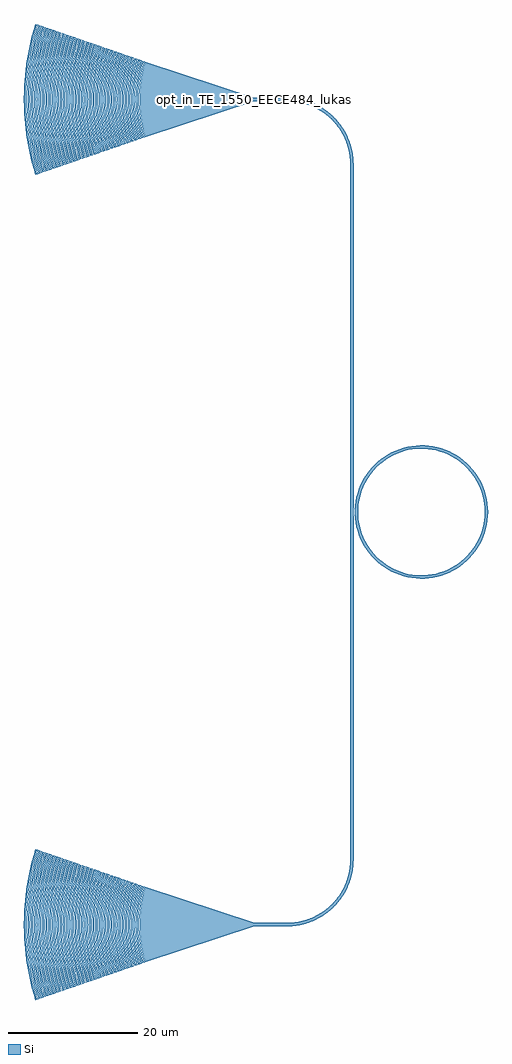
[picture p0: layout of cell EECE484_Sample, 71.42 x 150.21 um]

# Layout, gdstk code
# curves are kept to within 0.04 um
from math import pi, radians
import gdstk
lib = gdstk.Library(unit=1e-6, precision=1e-09)
def R(c, l, rs):  # rectangles x0, y0, x1, y1
    for r in rs: c.add(gdstk.rectangle(r[:2], r[2:], *l))
def P(c, l, *ps):  # polygons
    for p in ps: c.add(gdstk.Polygon(p, *l))
Si = (1, 0)

bend90_10um = lib.new_cell('Bend90_10um')
P(bend90_10um, Si, [(0,0),(0,0.5),(1.081,0.56),(2.148,0.74),(3.189,1.036),(4.191,1.446),(5.529,2.219),(6.839,3.301),(7.942,4.594),(8.736,5.92),(9.162,6.915),(9.475,7.951),(9.672,9.016),(9.75,10.25),(10.25,10.25),(10.204,9.276),(10.065,8.31),(9.835,7.362),(9.516,6.44),(9.111,5.553),(8.623,4.708),(7.956,3.787),(7.305,3.06),(6.589,2.398),(5.678,1.716),(4.841,1.215),(3.96,0.796),(2.888,0.415),(1.94,0.185),(0.974,0.046)])

te_1550_220__38_air_subg = lib.new_cell('TE_1550_220_-38_air_SubGC')
R(te_1550_220__38_air_subg, Si, [(34.469,11.353,35.469,11.853)])
P(te_1550_220__38_air_subg, Si, [(18.418,5.732),(18.215,6.503),(18.042,7.279),(17.931,7.865),(17.808,8.648),(17.714,9.433),(17.649,10.221),(17.619,10.813),(17.605,11.603),(17.619,12.393),(17.649,12.985),(17.714,13.773),(17.808,14.558),(17.931,15.341),(18.042,15.927),(18.215,16.703),(18.418,17.474),(18.491,17.449),(18.29,16.681),(18.118,15.908),(17.974,15.131),(17.859,14.35),(17.773,13.567),(17.727,12.979),(17.697,12.389),(17.683,11.603),(17.697,10.817),(17.727,10.227),(17.773,9.639),(17.859,8.856),(17.974,8.075),(18.118,7.298),(18.29,6.525),(18.491,5.757)],
  [(17.543,5.431),(17.187,6.852),(16.896,8.495),(16.741,9.943),(16.68,11.603),(16.741,13.263),(16.896,14.711),(17.187,16.354),(17.543,17.775),(17.789,17.691),(17.439,16.288),(17.152,14.668),(17,13.24),(16.94,11.603),(17,9.966),(17.152,8.538),(17.439,6.918),(17.789,5.515)],
  [(17.892,5.551),(17.682,6.346),(17.502,7.146),(17.387,7.749),(17.26,8.556),(17.162,9.366),(17.109,9.975),(17.064,10.789),(17.049,11.603),(17.064,12.417),(17.109,13.231),(17.162,13.84),(17.26,14.65),(17.387,15.457),(17.502,16.06),(17.682,16.86),(17.892,17.655),(17.966,17.63),(17.757,16.838),(17.578,16.042),(17.429,15.241),(17.31,14.436),(17.22,13.628),(17.173,13.022),(17.135,12.211),(17.127,11.603),(17.135,10.995),(17.173,10.184),(17.22,9.578),(17.31,8.77),(17.429,7.965),(17.578,7.164),(17.757,6.368),(17.966,5.576)],
  [(17.017,5.25),(16.649,6.713),(16.347,8.403),(16.173,10.107),(16.124,11.603),(16.173,13.099),(16.347,14.803),(16.649,16.493),(17.017,17.956),(17.263,17.872),(16.857,16.221),(16.604,14.76),(16.432,13.079),(16.384,11.603),(16.432,10.127),(16.604,8.446),(16.857,6.985),(17.263,5.334)],
  [(17.366,5.37),(17.2,5.983),(17.006,6.805),(16.843,7.633),(16.711,8.464),(16.61,9.299),(16.555,9.926),(16.509,10.764),(16.493,11.603),(16.509,12.442),(16.555,13.28),(16.61,13.907),(16.711,14.742),(16.843,15.573),(17.006,16.401),(17.2,17.223),(17.366,17.836),(17.44,17.811),(17.224,16.996),(17.038,16.175),(16.884,15.35),(16.76,14.522),(16.688,13.898),(16.618,13.065),(16.586,12.438),(16.571,11.603),(16.586,10.768),(16.618,10.141),(16.688,9.308),(16.76,8.684),(16.884,7.856),(17.038,7.031),(17.224,6.21),(17.44,5.395)],
  [(16.492,5.069),(16.111,6.573),(15.799,8.311),(15.618,10.064),(15.568,11.603),(15.618,13.142),(15.799,14.895),(16.111,16.633),(16.492,18.137),(16.738,18.053),(16.317,16.354),(16.056,14.852),(15.893,13.339),(15.828,11.603),(15.893,9.867),(16.056,8.354),(16.317,6.852),(16.738,5.153)],
  [(16.841,5.189),(16.669,5.819),(16.468,6.665),(16.3,7.517),(16.163,8.372),(16.082,9.016),(16.001,9.877),(15.953,10.74),(15.937,11.603),(15.953,12.466),(16.001,13.329),(16.082,14.19),(16.163,14.834),(16.3,15.689),(16.468,16.541),(16.669,17.387),(16.841,18.017),(16.914,17.992),(16.691,17.154),(16.499,16.309),(16.339,15.46),(16.211,14.607),(16.115,13.751),(16.064,13.107),(16.031,12.463),(16.015,11.603),(16.031,10.743),(16.064,10.099),(16.115,9.455),(16.211,8.599),(16.339,7.746),(16.499,6.897),(16.691,6.052),(16.914,5.214)],
  [(15.966,4.888),(15.525,6.655),(15.251,8.22),(15.064,10.021),(15.012,11.603),(15.064,13.185),(15.251,14.986),(15.525,16.551),(15.966,18.318),(16.212,18.234),(15.825,16.708),(15.507,14.943),(15.323,13.165),(15.272,11.603),(15.323,10.041),(15.507,8.263),(15.825,6.498),(16.212,4.972)],
  [(16.315,5.008),(16.083,5.873),(15.883,6.744),(15.717,7.62),(15.615,8.281),(15.531,8.943),(15.447,9.828),(15.398,10.715),(15.381,11.603),(15.398,12.491),(15.447,13.378),(15.507,14.042),(15.615,14.925),(15.717,15.586),(15.883,16.462),(16.083,17.333),(16.315,18.198),(16.389,18.173),(16.157,17.311),(15.959,16.443),(15.794,15.57),(15.662,14.693),(15.562,13.812),(15.51,13.15),(15.468,12.266),(15.459,11.603),(15.468,10.94),(15.51,10.056),(15.562,9.394),(15.662,8.513),(15.794,7.636),(15.959,6.763),(16.157,5.895),(16.389,5.033)],
  [(15.44,4.707),(15.035,6.293),(14.702,8.128),(14.526,9.746),(14.456,11.603),(14.526,13.46),(14.702,15.078),(15.035,16.913),(15.44,18.499),(15.686,18.415),(15.238,16.622),(14.959,15.035),(14.785,13.437),(14.716,11.603),(14.785,9.769),(14.959,8.171),(15.238,6.584),(15.686,4.791)],
  [(15.789,4.827),(15.549,5.715),(15.392,6.386),(15.212,7.285),(15.066,8.189),(14.979,8.869),(14.894,9.779),(14.842,10.69),(14.825,11.603),(14.842,12.516),(14.894,13.427),(14.979,14.337),(15.066,15.017),(15.212,15.921),(15.392,16.82),(15.549,17.491),(15.789,18.379),(15.863,18.354),(15.624,17.469),(15.42,16.577),(15.249,15.68),(15.112,14.779),(15.032,14.1),(14.955,13.193),(14.92,12.512),(14.903,11.603),(14.92,10.694),(14.955,10.013),(15.032,9.106),(15.112,8.427),(15.249,7.526),(15.42,6.629),(15.624,5.737),(15.863,4.852)],
  [(14.915,4.526),(14.446,6.387),(14.154,8.036),(13.955,9.935),(13.9,11.603),(13.955,13.271),(14.154,15.17),(14.446,16.819),(14.915,18.68),(15.16,18.596),(14.698,16.756),(14.41,15.127),(14.231,13.486),(14.16,11.603),(14.231,9.72),(14.41,8.079),(14.698,6.45),(15.16,4.61)],
  [(15.263,4.646),(15.016,5.558),(14.804,6.476),(14.627,7.401),(14.518,8.097),(14.403,9.029),(14.323,9.964),(14.279,10.9),(14.269,11.603),(14.279,12.306),(14.323,13.242),(14.403,14.177),(14.518,15.109),(14.627,15.805),(14.804,16.73),(15.016,17.648),(15.263,18.56),(15.337,18.535),(15.091,17.626),(14.88,16.711),(14.704,15.79),(14.563,14.864),(14.48,14.168),(14.401,13.236),(14.357,12.303),(14.347,11.603),(14.357,10.903),(14.401,9.97),(14.48,9.038),(14.563,8.342),(14.704,7.416),(14.88,6.495),(15.091,5.58),(15.337,4.671)],
  [(14.389,4.345),(13.906,6.253),(13.606,7.944),(13.418,9.648),(13.344,11.603),(13.418,13.558),(13.606,15.262),(13.906,16.953),(14.389,18.861),(14.635,18.777),(14.21,17.127),(13.862,15.219),(13.677,13.535),(13.604,11.603),(13.677,9.671),(13.862,7.987),(14.21,6.079),(14.635,4.429)],
  [(14.738,4.465),(14.543,5.165),(14.316,6.106),(14.124,7.053),(13.97,8.005),(13.877,8.722),(13.786,9.681),(13.731,10.641),(13.713,11.603),(13.731,12.565),(13.786,13.525),(13.877,14.484),(13.97,15.201),(14.124,16.153),(14.316,17.1),(14.543,18.041),(14.738,18.741),(14.812,18.716),(14.558,17.784),(14.34,16.845),(14.159,15.9),(14.014,14.95),(13.928,14.235),(13.847,13.279),(13.801,12.322),(13.791,11.603),(13.801,10.884),(13.847,9.927),(13.928,8.971),(14.014,8.256),(14.159,7.306),(14.34,6.361),(14.558,5.422),(14.812,4.49)],
  [(13.863,4.164),(13.42,5.873),(13.057,7.853),(12.847,9.849),(12.788,11.603),(12.847,13.357),(13.057,15.353),(13.42,17.333),(13.863,19.042),(14.109,18.958),(13.619,17.024),(13.314,15.311),(13.106,13.337),(13.048,11.603),(13.106,9.869),(13.314,7.895),(13.619,6.182),(14.109,4.248)],
  [(14.212,4.284),(13.95,5.242),(13.725,6.208),(13.537,7.181),(13.421,7.913),(13.299,8.894),(13.232,9.631),(13.176,10.617),(13.157,11.603),(13.176,12.589),(13.232,13.575),(13.299,14.312),(13.421,15.293),(13.537,16.025),(13.725,16.998),(13.95,17.964),(14.212,18.922),(14.286,18.897),(14.025,17.942),(13.801,16.979),(13.614,16.01),(13.464,15.036),(13.352,14.058),(13.292,13.322),(13.254,12.586),(13.235,11.603),(13.254,10.62),(13.292,9.884),(13.352,9.148),(13.464,8.17),(13.614,7.196),(13.801,6.227),(14.025,5.264),(14.286,4.309)],
  [(13.337,3.983),(12.882,5.734),(12.509,7.761),(12.292,9.806),(12.232,11.603),(12.292,13.4),(12.509,15.445),(12.882,17.472),(13.337,19.223),(13.583,19.139),(13.079,17.158),(12.765,15.402),(12.57,13.633),(12.492,11.603),(12.57,9.573),(12.765,7.804),(13.079,6.048),(13.583,4.067)],
  [(13.686,4.103),(13.417,5.085),(13.185,6.075),(12.992,7.071),(12.873,7.822),(12.747,8.827),(12.678,9.582),(12.62,10.592),(12.601,11.603),(12.62,12.614),(12.678,13.624),(12.747,14.379),(12.873,15.384),(12.992,16.135),(13.185,17.131),(13.417,18.121),(13.686,19.103),(13.76,19.078),(13.491,18.099),(13.261,17.113),(13.069,16.12),(12.915,15.121),(12.799,14.119),(12.738,13.365),(12.698,12.61),(12.679,11.603),(12.698,10.596),(12.738,9.841),(12.799,9.087),(12.915,8.085),(13.069,7.086),(13.261,6.093),(13.491,5.107),(13.76,4.128)],
  [(12.812,3.801),(12.287,5.852),(11.96,7.669),(11.738,9.763),(11.676,11.603),(11.738,13.443),(11.96,15.537),(12.287,17.354),(12.812,19.405),(13.058,19.32),(12.596,17.547),(12.217,15.494),(11.997,13.423),(11.936,11.603),(11.997,9.783),(12.217,7.712),(12.596,5.659),(13.058,3.886)],
  [(13.161,3.922),(12.883,4.927),(12.701,5.687),(12.493,6.705),(12.324,7.73),(12.195,8.759),(12.106,9.792),(12.056,10.826),(12.045,11.603),(12.056,12.38),(12.106,13.414),(12.195,14.447),(12.324,15.476),(12.493,16.501),(12.701,17.519),(12.883,18.279),(13.161,19.284),(13.234,19.259),(12.958,18.257),(12.721,17.247),(12.524,16.23),(12.365,15.207),(12.247,14.18),(12.184,13.408),(12.134,12.377),(12.123,11.603),(12.134,10.829),(12.184,9.798),(12.247,9.026),(12.365,7.999),(12.524,6.976),(12.721,5.959),(12.958,4.949),(13.234,3.947)],
  [(12.286,3.62),(11.806,5.454),(11.412,7.577),(11.203,9.452),(11.12,11.603),(11.203,13.754),(11.412,15.629),(11.806,17.752),(12.286,19.586),(12.532,19.501),(12,17.425),(11.669,15.586),(11.462,13.731),(11.38,11.603),(11.462,9.475),(11.669,7.62),(12,5.781),(12.532,3.705)],
  [(12.635,3.741),(12.35,4.77),(12.163,5.547),(11.949,6.589),(11.776,7.638),(11.643,8.692),(11.571,9.484),(11.509,10.543),(11.489,11.603),(11.509,12.663),(11.571,13.722),(11.643,14.514),(11.776,15.568),(11.949,16.617),(12.163,17.659),(12.35,18.436),(12.635,19.465),(12.709,19.44),(12.425,18.414),(12.182,17.38),(11.979,16.339),(11.816,15.293),(11.694,14.242),(11.629,13.451),(11.578,12.396),(11.567,11.603),(11.578,10.81),(11.629,9.755),(11.694,8.964),(11.816,7.913),(11.979,6.867),(12.182,5.826),(12.425,4.792),(12.709,3.766)],
  [(11.76,3.439),(11.208,5.584),(10.864,7.485),(10.649,9.402),(10.564,11.603),(10.649,13.804),(10.864,15.721),(11.208,17.622),(11.76,19.767),(12.006,19.682),(11.52,17.826),(11.12,15.678),(10.908,13.781),(10.824,11.603),(10.908,9.425),(11.12,7.528),(11.52,5.38),(12.006,3.524)],
  [(12.109,3.56),(11.817,4.612),(11.566,5.673),(11.357,6.741),(11.228,7.546),(11.091,8.624),(10.997,9.706),(10.954,10.518),(10.933,11.603),(10.954,12.688),(10.997,13.5),(11.091,14.582),(11.228,15.66),(11.357,16.465),(11.566,17.533),(11.817,18.594),(12.109,19.646),(12.183,19.621),(11.892,18.572),(11.642,17.514),(11.434,16.449),(11.267,15.379),(11.169,14.572),(11.075,13.494),(11.032,12.684),(11.011,11.603),(11.032,10.522),(11.075,9.712),(11.169,8.634),(11.267,7.827),(11.434,6.757),(11.642,5.692),(11.892,4.634),(12.183,3.585)],
  [(11.235,3.258),(10.73,5.174),(10.315,7.394),(10.095,9.353),(10.008,11.603),(10.095,13.853),(10.315,15.812),(10.73,18.032),(11.235,19.948),(11.48,19.863),(10.981,17.966),(10.572,15.769),(10.354,13.83),(10.268,11.603),(10.354,9.376),(10.572,7.437),(10.981,5.24),(11.48,3.343)],
  [(11.584,3.379),(11.284,4.454),(11.087,5.267),(10.862,6.358),(10.679,7.455),(10.57,8.281),(10.463,9.386),(10.399,10.494),(10.377,11.603),(10.399,12.712),(10.463,13.82),(10.57,14.925),(10.679,15.751),(10.862,16.848),(11.087,17.939),(11.284,18.752),(11.584,19.827),(11.657,19.802),(11.359,18.73),(11.102,17.648),(10.889,16.559),(10.717,15.464),(10.617,14.64),(10.521,13.537),(10.476,12.709),(10.455,11.603),(10.476,10.497),(10.521,9.669),(10.617,8.566),(10.717,7.742),(10.889,6.647),(11.102,5.558),(11.359,4.476),(11.657,3.404)],
  [(10.709,3.077),(10.129,5.316),(9.767,7.302),(9.542,9.304),(9.452,11.603),(9.542,13.902),(9.767,15.904),(10.129,17.89),(10.709,20.129),(10.955,20.044),(10.443,18.106),(10.023,15.861),(9.78,13.595),(9.712,11.603),(9.78,9.611),(10.023,7.345),(10.443,5.1),(10.955,3.162)],
  [(11.058,3.198),(10.751,4.297),(10.487,5.405),(10.267,6.521),(10.131,7.363),(10.019,8.207),(9.909,9.337),(9.843,10.469),(9.821,11.603),(9.843,12.737),(9.909,13.869),(10.019,14.999),(10.131,15.843),(10.267,16.685),(10.487,17.801),(10.751,18.909),(11.058,20.008),(11.132,19.983),(10.825,18.887),(10.563,17.782),(10.344,16.669),(10.168,15.55),(10.036,14.426),(9.966,13.58),(9.911,12.451),(9.899,11.603),(9.911,10.755),(9.966,9.626),(10.036,8.78),(10.168,7.656),(10.344,6.537),(10.563,5.424),(10.825,4.319),(11.132,3.223)],
  [(10.183,2.896),(9.589,5.182),(9.219,7.21),(8.966,9.548),(8.896,11.603),(8.966,13.658),(9.219,15.996),(9.589,18.024),(10.183,20.31),(10.429,20.225),(9.905,18.246),(9.475,15.953),(9.247,13.928),(9.156,11.603),(9.247,9.278),(9.475,7.253),(9.905,4.96),(10.429,2.981)],
  [(10.532,3.017),(10.217,4.139),(9.947,5.271),(9.774,6.126),(9.583,7.271),(9.468,8.134),(9.355,9.288),(9.288,10.445),(9.265,11.603),(9.288,12.761),(9.355,13.918),(9.468,15.072),(9.583,15.935),(9.774,17.08),(9.947,17.935),(10.217,19.067),(10.532,20.189),(10.606,20.164),(10.292,19.045),(10.023,17.916),(9.799,16.779),(9.619,15.636),(9.513,14.775),(9.412,13.623),(9.356,12.469),(9.343,11.603),(9.356,10.737),(9.412,9.583),(9.513,8.431),(9.619,7.57),(9.799,6.427),(10.023,5.29),(10.292,4.161),(10.606,3.042)],
  [(9.658,2.715),(9.115,4.755),(8.67,7.118),(8.434,9.206),(8.34,11.603),(8.412,13.701),(8.67,16.088),(9.115,18.451),(9.658,20.491),(9.903,20.406),(9.367,18.386),(8.927,16.045),(8.671,13.681),(8.6,11.603),(8.671,9.525),(8.927,7.161),(9.367,4.82),(9.903,2.8)],
  [(10.006,2.836),(9.684,3.982),(9.408,5.137),(9.23,6.01),(9.034,7.179),(8.884,8.354),(8.78,9.534),(8.732,10.42),(8.709,11.603),(8.732,12.786),(8.78,13.672),(8.884,14.852),(9.034,16.027),(9.23,17.196),(9.408,18.069),(9.684,19.224),(10.006,20.37),(10.08,20.345),(9.759,19.202),(9.483,18.05),(9.254,16.889),(9.069,15.721),(8.961,14.842),(8.858,13.666),(8.81,12.782),(8.787,11.603),(8.81,10.424),(8.858,9.54),(8.961,8.364),(9.069,7.485),(9.254,6.317),(9.483,5.156),(9.759,4.004),(10.08,2.861)],
  [(9.132,2.534),(8.577,4.615),(8.122,7.027),(7.88,9.157),(7.784,11.603),(7.88,14.049),(8.122,16.179),(8.577,18.591),(9.132,20.672),(9.378,20.587),(8.762,18.229),(8.378,16.136),(8.139,14.026),(8.044,11.603),(8.139,9.18),(8.378,7.07),(8.762,4.977),(9.378,2.619)],
  [(9.481,2.655),(9.229,3.531),(8.934,4.708),(8.687,5.894),(8.486,7.088),(8.332,8.287),(8.248,9.19),(8.177,10.395),(8.153,11.603),(8.177,12.811),(8.248,14.016),(8.332,14.919),(8.486,16.118),(8.687,17.312),(8.934,18.498),(9.229,19.675),(9.481,20.551),(9.554,20.526),(9.226,19.36),(8.944,18.184),(8.708,16.999),(8.52,15.807),(8.409,14.91),(8.303,13.709),(8.244,12.506),(8.231,11.603),(8.244,10.7),(8.303,9.497),(8.409,8.296),(8.52,7.399),(8.708,6.207),(8.944,5.022),(9.226,3.846),(9.554,2.68)],
  [(8.606,2.353),(7.97,4.781),(7.573,6.935),(7.303,9.419),(7.228,11.603),(7.303,13.787),(7.573,16.271),(7.97,18.425),(8.606,20.853),(8.852,20.768),(8.223,18.363),(7.83,16.228),(7.585,14.075),(7.488,11.603),(7.585,9.131),(7.83,6.978),(8.223,4.843),(8.852,2.438)],
  [(8.955,2.473),(8.618,3.666),(8.328,4.87),(8.087,6.082),(7.937,6.996),(7.78,8.22),(7.671,9.448),(7.621,10.371),(7.597,11.603),(7.621,12.835),(7.671,13.758),(7.78,14.986),(7.937,16.21),(8.087,17.124),(8.328,18.336),(8.618,19.54),(8.955,20.733),(9.029,20.707),(8.693,19.518),(8.404,18.318),(8.163,17.109),(7.971,15.893),(7.826,14.671),(7.749,13.752),(7.699,12.832),(7.675,11.603),(7.699,10.374),(7.749,9.454),(7.826,8.535),(7.971,7.313),(8.163,6.097),(8.404,4.888),(8.693,3.688),(9.029,2.499)],
  [(8.08,2.172),(7.501,4.335),(7.025,6.843),(6.772,9.059),(6.672,11.603),(6.772,14.147),(7.025,16.363),(7.501,18.871),(8.08,21.034),(8.326,20.949),(7.683,18.496),(7.282,16.32),(7.031,14.124),(6.932,11.603),(7.031,9.082),(7.282,6.886),(7.683,4.71),(8.326,2.257)],
  [(8.429,2.292),(8.166,3.204),(7.858,4.428),(7.599,5.662),(7.389,6.904),(7.228,8.152),(7.14,9.091),(7.066,10.346),(7.041,11.603),(7.066,12.86),(7.14,14.115),(7.228,15.054),(7.389,16.302),(7.599,17.544),(7.858,18.778),(8.166,20.002),(8.429,20.914),(8.503,20.888),(8.16,19.675),(7.865,18.451),(7.618,17.219),(7.421,15.978),(7.273,14.732),(7.195,13.795),(7.133,12.543),(7.119,11.603),(7.133,10.663),(7.195,9.411),(7.273,8.474),(7.421,7.228),(7.618,5.987),(7.865,4.755),(8.16,3.531),(8.503,2.318)],
  [(7.555,1.991),(6.963,4.195),(6.694,5.469),(6.477,6.751),(6.219,9.01),(6.116,11.603),(6.219,14.196),(6.477,16.455),(6.694,17.737),(6.963,19.011),(7.555,21.215),(7.801,21.13),(7.447,19.886),(7.143,18.63),(6.733,16.412),(6.454,13.853),(6.376,11.603),(6.454,9.353),(6.733,6.794),(7.143,4.576),(7.447,3.32),(7.801,2.076)],
  [(7.904,2.111),(7.635,3.04),(7.32,4.288),(7.055,5.546),(6.841,6.812),(6.676,8.085),(6.586,9.042),(6.51,10.322),(6.485,11.603),(6.51,12.884),(6.586,14.164),(6.676,15.121),(6.841,16.394),(7.055,17.66),(7.32,18.918),(7.635,20.166),(7.904,21.095),(7.977,21.069),(7.626,19.833),(7.325,18.585),(7.073,17.329),(6.872,16.064),(6.754,15.112),(6.64,13.838),(6.588,12.881),(6.563,11.603),(6.588,10.325),(6.64,9.368),(6.754,8.094),(6.872,7.142),(7.073,5.877),(7.325,4.621),(7.626,3.373),(7.977,2.137)],
  [(7.029,1.81),(6.664,3.089),(6.351,4.379),(5.928,6.66),(5.758,7.973),(5.64,9.29),(5.56,11.603),(5.64,13.916),(5.758,15.233),(5.928,16.546),(6.351,18.827),(6.664,20.117),(7.029,21.396),(7.275,21.311),(6.676,19.085),(6.405,17.798),(6.185,16.504),(6.016,15.202),(5.899,13.896),(5.82,11.603),(5.899,9.31),(6.016,8.004),(6.185,6.702),(6.405,5.408),(6.676,4.121),(7.275,1.895)],
  [(7.378,1.93),(7.103,2.877),(6.782,4.148),(6.512,5.43),(6.292,6.72),(6.124,8.017),(6.032,8.993),(5.955,10.297),(5.929,11.603),(5.955,12.909),(6.032,14.213),(6.124,15.189),(6.292,16.486),(6.512,17.776),(6.782,19.058),(7.103,20.329),(7.378,21.276),(7.452,21.25),(7.093,19.99),(6.785,18.719),(6.528,17.438),(6.323,16.15),(6.168,14.855),(6.086,13.881),(6.033,12.905),(6.007,11.603),(6.033,10.301),(6.086,9.325),(6.168,8.351),(6.323,7.056),(6.528,5.768),(6.785,4.487),(7.093,3.216),(7.452,1.956)],
  [(6.503,1.629),(6.131,2.931),(5.812,4.245),(5.38,6.568),(5.111,8.911),(5.031,10.256),(5.004,11.603),(5.031,12.95),(5.111,14.295),(5.38,16.638),(5.812,18.961),(6.131,20.275),(6.503,21.577),(6.749,21.492),(6.381,20.201),(5.993,18.571),(5.742,17.256),(5.502,15.601),(5.324,13.605),(5.264,11.603),(5.324,9.601),(5.502,7.605),(5.742,5.95),(5.993,4.635),(6.381,3.005),(6.749,1.714)],
  [(6.852,1.749),(6.485,3.036),(6.17,4.334),(5.907,5.642),(5.744,6.629),(5.573,7.95),(5.454,9.276),(5.399,10.273),(5.373,11.603),(5.399,12.933),(5.454,13.93),(5.573,15.256),(5.744,16.577),(5.907,17.564),(6.17,18.872),(6.485,20.17),(6.852,21.457),(6.926,21.431),(6.56,20.148),(6.246,18.853),(5.983,17.548),(5.773,16.236),(5.615,14.916),(5.532,13.924),(5.477,12.93),(5.451,11.603),(5.477,10.276),(5.532,9.282),(5.615,8.29),(5.773,6.97),(5.983,5.658),(6.246,4.353),(6.56,3.058),(6.926,1.775)],
  [(5.978,1.448),(5.598,2.774),(5.272,4.111),(4.832,6.476),(4.557,8.862),(4.475,10.232),(4.448,11.603),(4.475,12.974),(4.557,14.344),(4.832,16.73),(5.272,19.095),(5.598,20.432),(5.978,21.758),(6.223,21.673),(5.847,20.359),(5.452,18.699),(5.14,17.024),(4.951,15.675),(4.769,13.642),(4.708,11.603),(4.769,9.564),(4.951,7.531),(5.14,6.182),(5.452,4.507),(5.847,2.847),(6.223,1.533)],
  [(6.326,1.568),(5.952,2.878),(5.63,4.2),(5.424,5.198),(5.196,6.537),(5.021,7.882),(4.899,9.233),(4.832,10.587),(4.817,11.603),(4.832,12.619),(4.899,13.973),(5.021,15.324),(5.196,16.669),(5.424,18.008),(5.63,19.006),(5.952,20.328),(6.326,21.638),(6.4,21.612),(6.027,20.306),(5.706,18.987),(5.438,17.658),(5.224,16.321),(5.098,15.314),(4.977,13.967),(4.91,12.617),(4.895,11.603),(4.91,10.589),(4.977,9.239),(5.098,7.892),(5.224,6.885),(5.438,5.548),(5.706,4.219),(6.027,2.9),(6.4,1.594)],
  [(5.452,1.267),(4.81,3.636),(4.519,5.006),(4.283,6.384),(4.003,8.813),(3.92,10.207),(3.892,11.603),(3.92,12.999),(4.003,14.393),(4.283,16.822),(4.519,18.2),(4.81,19.57),(5.452,21.939),(5.698,21.854),(5.314,20.516),(4.911,18.827),(4.65,17.464),(4.443,16.092),(4.236,14.024),(4.152,11.603),(4.236,9.182),(4.443,7.114),(4.65,5.742),(4.911,4.379),(5.314,2.69),(5.698,1.352)],
  [(5.801,1.387),(5.419,2.721),(5.091,4.066),(4.88,5.083),(4.647,6.445),(4.469,7.815),(4.345,9.19),(4.288,10.223),(4.261,11.603),(4.288,12.983),(4.345,14.016),(4.469,15.391),(4.647,16.761),(4.88,18.123),(5.091,19.14),(5.419,20.485),(5.801,21.819),(5.874,21.793),(5.494,20.463),(5.166,19.121),(4.893,17.768),(4.674,16.407),(4.51,15.039),(4.423,14.01),(4.366,12.979),(4.339,11.603),(4.366,10.227),(4.423,9.196),(4.51,8.167),(4.674,6.799),(4.893,5.438),(5.166,4.085),(5.494,2.743),(5.874,1.413)],
  [(4.926,1.086),(4.272,3.496),(3.975,4.89),(3.735,6.293),(3.551,7.703),(3.423,9.118),(3.336,11.603),(3.423,14.088),(3.551,15.503),(3.735,16.913),(3.975,18.316),(4.272,19.71),(4.926,22.12),(5.172,22.035),(4.781,20.674),(4.445,19.3),(4.165,17.915),(3.893,16.172),(3.659,13.716),(3.596,11.603),(3.659,9.49),(3.893,7.034),(4.165,5.291),(4.445,3.906),(4.781,2.532),(5.172,1.171)],
  [(5.275,1.206),(4.978,2.223),(4.629,3.589),(4.336,4.967),(4.099,6.353),(3.957,7.398),(3.817,8.797),(3.733,10.199),(3.705,11.603),(3.733,13.007),(3.817,14.409),(3.957,15.808),(4.099,16.853),(4.336,18.239),(4.629,19.617),(4.978,20.983),(5.275,22),(5.349,21.974),(4.96,20.621),(4.627,19.255),(4.348,17.878),(4.125,16.493),(3.994,15.449),(3.869,14.053),(3.811,13.004),(3.783,11.603),(3.811,10.202),(3.869,9.153),(3.994,7.757),(4.125,6.713),(4.348,5.328),(4.627,3.951),(4.96,2.585),(5.349,1.232)],
  [(4.4,0.905),(3.734,3.356),(3.432,4.774),(3.186,6.201),(2.896,8.715),(2.809,10.158),(2.78,11.603),(2.809,13.048),(2.896,14.491),(3.186,17.005),(3.432,18.432),(3.734,19.85),(4.4,22.301),(4.646,22.216),(4.157,20.483),(3.829,19.082),(3.557,17.671),(3.343,16.252),(3.128,14.11),(3.04,11.603),(3.128,9.096),(3.343,6.954),(3.557,5.535),(3.829,4.124),(4.157,2.723),(4.646,0.99)],
  [(4.749,1.025),(4.446,2.059),(4.091,3.449),(3.793,4.851),(3.55,6.262),(3.365,7.68),(3.236,9.104),(3.165,10.531),(3.149,11.603),(3.165,12.675),(3.236,14.102),(3.365,15.526),(3.55,16.944),(3.793,18.355),(4.091,19.757),(4.446,21.147),(4.749,22.181),(4.823,22.155),(4.427,20.778),(4.25,20.085),(4.011,19.039),(3.803,17.988),(3.576,16.578),(3.442,15.516),(3.314,14.096),(3.255,13.028),(3.227,11.603),(3.255,10.178),(3.314,9.11),(3.442,7.69),(3.576,6.628),(3.803,5.218),(4.011,4.167),(4.25,3.121),(4.427,2.428),(4.823,1.051)],
  [(3.875,0.724),(3.196,3.217),(2.888,4.658),(2.638,6.109),(2.447,7.568),(2.314,9.032),(2.224,11.603),(2.314,14.174),(2.447,15.638),(2.638,17.097),(2.888,18.548),(3.196,19.989),(3.875,22.482),(4.121,22.397),(3.715,20.989),(3.366,19.568),(3.011,17.775),(2.792,16.331),(2.573,14.153),(2.484,11.603),(2.573,9.053),(2.792,6.875),(3.011,5.431),(3.366,3.638),(3.715,2.217),(4.121,0.809)],
  [(4.224,0.844),(3.819,2.248),(3.553,3.309),(3.249,4.735),(3.002,6.17),(2.813,7.613),(2.709,8.698),(2.622,10.15),(2.593,11.603),(2.622,13.056),(2.709,14.508),(2.813,15.593),(3.002,17.036),(3.249,18.471),(3.553,19.897),(3.819,20.958),(4.224,22.362),(4.297,22.336),(3.989,21.287),(3.802,20.584),(3.47,19.167),(3.258,18.098),(3.026,16.664),(2.89,15.584),(2.76,14.139),(2.687,12.69),(2.671,11.603),(2.687,10.516),(2.76,9.067),(2.89,7.622),(3.026,6.542),(3.258,5.108),(3.47,4.039),(3.802,2.622),(3.989,1.919),(4.297,0.87)],
  [(3.349,0.543),(2.932,1.986),(2.574,3.442),(2.09,6.017),(1.788,8.617),(1.698,10.109),(1.668,11.603),(1.698,13.097),(1.788,14.589),(2.09,17.189),(2.574,19.764),(2.932,21.22),(3.349,22.663),(3.595,22.578),(3.181,21.147),(2.826,19.701),(2.465,17.879),(2.242,16.411),(2.019,14.196),(1.928,11.603),(2.019,9.01),(2.242,6.795),(2.465,5.327),(2.826,3.505),(3.181,2.059),(3.595,0.628)],
  [(3.698,0.663),(3.286,2.09),(2.932,3.531),(2.705,4.619),(2.454,6.078),(2.261,7.545),(2.128,9.018),(2.083,9.756),(2.054,10.494),(2.037,11.603),(2.054,12.712),(2.083,13.45),(2.128,14.188),(2.261,15.661),(2.454,17.128),(2.705,18.587),(2.932,19.675),(3.286,21.116),(3.698,22.543),(3.772,22.517),(3.458,21.451),(3.267,20.735),(2.929,19.295),(2.713,18.208),(2.477,16.75),(2.3,15.284),(2.206,14.182),(2.161,13.446),(2.132,12.709),(2.115,11.603),(2.132,10.497),(2.161,9.76),(2.206,9.024),(2.3,7.922),(2.477,6.456),(2.713,4.998),(2.929,3.911),(3.267,2.471),(3.458,1.755),(3.772,0.689)],
  [(2.823,0.362),(2.399,1.828),(2.034,3.308),(1.541,5.925),(1.234,8.568),(1.143,10.084),(1.112,11.603),(1.143,13.122),(1.234,14.638),(1.541,17.281),(2.034,19.898),(2.399,21.378),(2.823,22.844),(3.069,22.759),(2.648,21.304),(2.287,19.835),(1.985,18.355),(1.692,16.49),(1.44,13.863),(1.372,11.603),(1.44,9.343),(1.692,6.716),(1.985,4.851),(2.287,3.371),(2.648,1.902),(3.069,0.447)],
  [(3.172,0.482),(2.753,1.933),(2.392,3.397),(2.161,4.503),(1.905,5.986),(1.709,7.478),(1.573,8.975),(1.511,10.101),(1.481,11.603),(1.511,13.105),(1.573,14.231),(1.709,15.728),(1.905,17.22),(2.161,18.703),(2.392,19.809),(2.753,21.273),(3.172,22.724),(3.246,22.698),(3.029,21.977),(2.732,20.887),(2.552,20.157),(2.388,19.423),(2.102,17.948),(1.928,16.835),(1.747,15.346),(1.651,14.225),(1.589,13.102),(1.559,11.603),(1.589,10.104),(1.651,8.981),(1.747,7.86),(1.928,6.371),(2.102,5.258),(2.388,3.783),(2.552,3.049),(2.732,2.319),(3.029,1.229),(3.246,0.508)],
  [(2.298,0.181),(1.582,2.797),(1.257,4.31),(0.993,5.834),(0.68,8.519),(0.587,10.06),(0.556,11.603),(0.587,13.146),(0.68,14.687),(0.993,17.372),(1.257,18.896),(1.582,20.409),(2.298,23.025),(2.543,22.94),(2.017,21.09),(1.664,19.594),(1.372,18.087),(1.142,16.57),(0.91,14.282),(0.816,11.603),(0.91,8.924),(1.142,6.636),(1.372,5.119),(1.664,3.612),(2.017,2.116),(2.543,0.266)],
  [(2.646,0.301),(2.22,1.775),(1.853,3.263),(1.617,4.387),(1.357,5.895),(1.249,6.652),(1.157,7.41),(1.019,8.932),(0.942,10.458),(0.925,11.603),(0.942,12.748),(1.019,14.274),(1.157,15.796),(1.249,16.554),(1.357,17.311),(1.617,18.819),(1.853,19.943),(2.22,21.431),(2.646,22.905),(2.72,22.879),(2.294,21.409),(2.014,20.297),(1.846,19.551),(1.556,18.052),(1.378,16.921),(1.235,15.786),(1.158,15.028),(1.097,14.268),(1.02,12.746),(1.003,11.603),(1.02,10.46),(1.097,8.938),(1.158,8.178),(1.235,7.42),(1.378,6.285),(1.556,5.154),(1.846,3.655),(2.014,2.909),(2.294,1.797),(2.72,0.327)],
  [(1.772,0),(1.332,1.513),(0.955,3.04),(0.445,5.742),(0.239,7.298),(0.097,8.861),(0,11.603),(0.097,14.345),(0.239,15.908),(0.445,17.464),(0.955,20.166),(1.332,21.693),(1.772,23.206),(2.018,23.121),(1.582,21.619),(1.207,20.103),(0.826,18.191),(0.591,16.65),(0.356,14.325),(0.26,11.603),(0.356,8.881),(0.591,6.556),(0.826,5.015),(1.207,3.103),(1.582,1.587),(2.018,0.085)],
  [(2.121,0.12),(1.686,1.617),(1.313,3.129),(1.074,4.271),(0.933,5.036),(0.809,5.803),(0.65,6.957),(0.564,7.729),(0.494,8.502),(0.439,9.276),(0.4,10.051),(0.369,11.603),(0.4,13.155),(0.439,13.93),(0.494,14.704),(0.564,15.477),(0.65,16.249),(0.809,17.403),(1.002,18.553),(1.313,20.077),(1.686,21.589),(2.121,23.086),(2.195,23.06),(1.97,22.315),(1.662,21.191),(1.305,19.679),(1.01,18.156),(0.829,17.007),(0.642,15.468),(0.543,14.311),(0.478,13.151),(0.447,11.603),(0.478,10.055),(0.543,8.895),(0.642,7.738),(0.829,6.199),(1.01,5.05),(1.305,3.527),(1.662,2.015),(1.97,0.891),(2.195,0.146)],
  [(18.595,5.793),(18.264,7.132),(17.993,8.678),(17.849,10.041),(17.792,11.603),(17.849,13.165),(17.993,14.528),(18.264,16.074),(18.595,17.413),(35.469,11.853),(35.469,11.353)],
  [(18.069,5.612),(17.684,7.191),(17.444,8.587),(17.281,10.193),(17.236,11.603),(17.281,13.013),(17.444,14.619),(17.684,16.015),(18.069,17.594),(18.315,17.51),(17.936,15.953),(17.701,14.576),(17.554,13.191),(17.496,11.603),(17.554,10.015),(17.701,8.63),(17.936,7.253),(18.315,5.696)])

eece484_sample = lib.new_cell('EECE484_Sample')
R(eece484_sample, Si, [(199,-0.25,200,0.25), (200,-0.25,205,0.25), (214.75,10,215.25,117), (199,126.75,200,127.25), (200,126.75,205,127.25)])
P(eece484_sample, Si, [(225.545,53.251),(225.545,53.751),(227.393,53.898),(228.595,54.19),(229.75,54.631),(231.356,55.558),(232.756,56.772),(233.902,58.229),(234.752,59.876),(235.274,61.655),(235.45,63.5),(235.274,65.345),(234.752,67.124),(233.902,68.771),(232.756,70.228),(231.356,71.442),(229.75,72.369),(228.595,72.81),(227.393,73.102),(225.545,73.249),(225.545,73.749),(226.836,73.687),(227.48,73.594),(228.117,73.461),(229.358,73.075),(229.958,72.824),(231.104,72.21),(232.163,71.456),(232.655,71.03),(233.552,70.089),(234.323,69.042),(234.657,68.484),(235.216,67.31),(235.438,66.698),(235.765,65.44),(235.868,64.798),(235.95,63.5),(235.868,62.202),(235.765,61.56),(235.438,60.302),(235.216,59.69),(234.657,58.516),(234.323,57.958),(233.552,56.911),(232.655,55.97),(232.163,55.544),(231.104,54.79),(229.958,54.176),(229.358,53.925),(228.743,53.712),(227.48,53.406),(226.836,53.313)],
  [(225.537,53.251),(224.241,53.354),(223.601,53.467),(222.348,53.814),(221.74,54.046),(221.148,54.316),(220.022,54.966),(219.493,55.343),(218.51,56.195),(217.643,57.164),(217.257,57.688),(216.589,58.803),(216.068,59.994),(215.865,60.612),(215.579,61.88),(215.496,62.526),(215.455,63.825),(215.496,64.474),(215.702,65.758),(215.865,66.388),(216.31,67.61),(216.589,68.197),(217.257,69.312),(217.643,69.836),(218.51,70.805),(219.493,71.657),(220.022,72.034),(221.148,72.684),(221.74,72.954),(222.348,73.186),(223.601,73.533),(224.888,73.718),(225.545,73.749),(225.545,73.249),(223.703,73.043),(222.511,72.714),(221.37,72.236),(220.299,71.618),(218.861,70.449),(217.669,69.029),(216.768,67.409),(216.19,65.648),(216.072,65.041),(215.955,63.809),(216.072,61.959),(216.538,60.165),(217.335,58.492),(218.434,56.999),(219.795,55.741),(221.37,54.764),(222.511,54.286),(223.703,53.957),(225.545,53.751)])
eece484_sample.add(gdstk.Reference(bend90_10um, (215.25,117), rotation=pi/2))
eece484_sample.add(gdstk.Reference(bend90_10um, (205,-0.25)))
eece484_sample.add(gdstk.Reference(te_1550_220__38_air_subg, (164.531,-11.603)))
eece484_sample.add(gdstk.Reference(te_1550_220__38_air_subg, (164.531,115.397)))
eece484_sample.add(gdstk.Label('opt_in_TE_1550_EECE484_lukascRing_1', (200,127), layer=10, texttype=0))

lib.write_gds('EECE484_Sample.gds')
